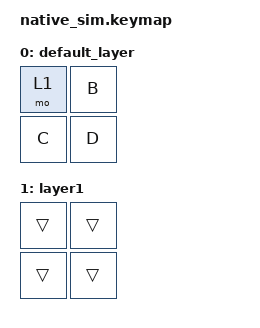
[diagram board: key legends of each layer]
#include <dt-bindings/zmk/keys.h>
#include <dt-bindings/zmk/kscan_mock.h>
#include <dt-bindings/zmk/led_matrix.h>
#include <dt-bindings/zmk/led_matrix_colors.h>
#include <dt-bindings/led/led.h>
#include <behaviors.dtsi>

/ {
    chosen {
        zmk,kscan = &kscan;
        zmk,led-matrix = &led_matrix;
    };

    kscan: native_posix_64_kscan_mock {
        compatible = "zmk,kscan-mock";
        rows = <2>;
        columns = <2>;
        exit-after;
        events = <
            ZMK_MOCK_PRESS(0,0,2250)
            ZMK_MOCK_RELEASE(0,0,10)
        >;
    };

    keymap {
        compatible = "zmk,keymap";

        default_layer {
            bindings = <
                &mo 1 &kp B
                &kp C &kp D
            >;
        };

        layer1 {
            bindings = <
                &trans &trans
                &trans &trans
            >;
        };
    };

    led_matrix_dev: led_matrix_dev {
        compatible = "zmk,led-mock";
        mode = "color";

        led_0 { index = <0>; color-mapping = <LED_COLOR_ID_GREEN LED_COLOR_ID_RED LED_COLOR_ID_BLUE>; };
        led_1 { index = <1>; color-mapping = <LED_COLOR_ID_GREEN LED_COLOR_ID_RED LED_COLOR_ID_BLUE>; };
        led_2 { index = <2>; color-mapping = <LED_COLOR_ID_GREEN LED_COLOR_ID_RED LED_COLOR_ID_BLUE>; };
        led_3 { index = <3>; color-mapping = <LED_COLOR_ID_GREEN LED_COLOR_ID_RED LED_COLOR_ID_BLUE>; };
    };

    led_matrix: led_matrix {
        compatible = "zmk,led-matrix";
        led-driver = "matrix";
        led-device = <&led_matrix_dev>;
        led-count = <4>;
        matrix-led-grid = <
            0 1 LM_BREAK
            2 3
        >;

        layer_color1 {
            layer-id = <1>;
            brightness = <100>;
            display-time-ms = <0>;
            layer-colors = <LM_RAINBOW>;
        };
    };
};
